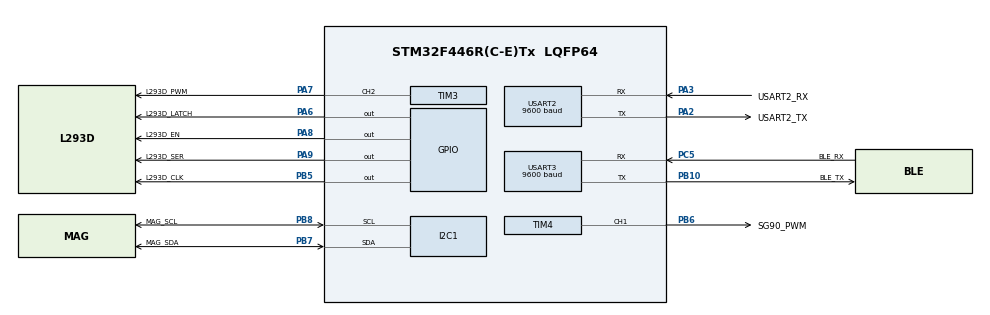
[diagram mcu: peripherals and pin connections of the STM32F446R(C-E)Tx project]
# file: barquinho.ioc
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Mcu.Family=STM32F4
Mcu.Name=STM32F446R(C-E)Tx
Mcu.Package=LQFP64
NVIC.PriorityGroup=NVIC_PRIORITYGROUP_4
NVIC.USART3_IRQn=true\:0\:0\:false\:false\:true\:true\:true\:true
PA13.Mode=Serial_Wire
PA13.Signal=SYS_JTMS-SWDIO
PA14.Mode=Serial_Wire
PA14.Signal=SYS_JTCK-SWCLK
PA2.GPIO_Label=USART2_TX
PA2.Mode=Asynchronous
PA2.Signal=USART2_TX
PA3.GPIO_Label=USART2_RX
PA3.Mode=Asynchronous
PA3.Signal=USART2_RX
PA6.GPIO_Label=L293D_LATCH
PA6.Signal=GPIO_Output
PA7.GPIO_Label=L293D_PWM
PA7.Signal=S_TIM3_CH2
PA8.GPIO_Label=L293D_EN
PA8.PinState=GPIO_PIN_SET
PA8.Signal=GPIO_Output
PA9.GPIO_Label=L293D_SER
PA9.Signal=GPIO_Output
PB10.GPIO_Label=BLE_TX
PB10.Mode=Asynchronous
PB10.Signal=USART3_TX
PB5.GPIO_Label=L293D_CLK
PB5.Signal=GPIO_Output
PB6.GPIO_Label=SG90_PWM
PB6.Signal=S_TIM4_CH1
PB7.GPIO_Label=MAG_SDA
PB7.Mode=I2C
PB7.Signal=I2C1_SDA
PB8.GPIO_Label=MAG_SCL
PB8.Mode=I2C
PB8.Signal=I2C1_SCL
PC14-OSC32_IN.Mode=LSE-External-Oscillator
PC14-OSC32_IN.Signal=RCC_OSC32_IN
PC15-OSC32_OUT.Mode=LSE-External-Oscillator
PC15-OSC32_OUT.Signal=RCC_OSC32_OUT
PC5.GPIO_Label=BLE_RX
PC5.Mode=Asynchronous
PC5.Signal=USART3_RX
PH0-OSC_IN.Mode=HSE-External-Oscillator
PH0-OSC_IN.Signal=RCC_OSC_IN
PH1-OSC_OUT.Mode=HSE-External-Oscillator
PH1-OSC_OUT.Signal=RCC_OSC_OUT
ProjectManager.HeapSize=0x200
ProjectManager.StackSize=0x400
ProjectManager.TargetToolchain=STM32CubeIDE
RCC.AHBFreq_Value=16000000
RCC.APB1CLKDivider=RCC_HCLK_DIV8
RCC.APB1Freq_Value=2000000
RCC.APB1TimFreq_Value=4000000
RCC.APB2Freq_Value=16000000
RCC.APB2TimFreq_Value=16000000
RCC.CortexFreq_Value=16000000
RCC.HCLKFreq_Value=16000000
RCC.USBFreq_Value=96000000
RCC.VCOOutputFreq_Value=192000000
SH.S_TIM3_CH2.0=TIM3_CH2,PWM Generation2 CH2
SH.S_TIM4_CH1.0=TIM4_CH1,PWM Generation1 CH1
TIM3.Channel-PWM\ Generation2\ CH2=TIM_CHANNEL_2
TIM3.Period=1250
TIM3.Prescaler=64-1
TIM4.Channel-PWM\ Generation1\ CH1=TIM_CHANNEL_1
TIM4.Period=1250
TIM4.Prescaler=64-1
USART2.BaudRate=9600
USART2.VirtualMode=VM_ASYNC
USART3.BaudRate=9600
USART3.VirtualMode=VM_ASYNC
board=custom

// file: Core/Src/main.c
/* USER CODE BEGIN Header */
/**
  ******************************************************************************
  * @file           : main.c
  * @brief          : Main program body
  * @authors        : Andre Lamego (andrelrc23@ufmg.br),
  *                 : Jarley B. Reckel Jr (jarley@ufmg.br),
  *                 : Mariana Givisiez (marianagivisiez@ufmg.br)
  ******************************************************************************
  * @attention
  *
  * Copyright (c) 2024 STMicroelectronics.
  * All rights reserved.
  *
  * This software is licensed under terms that can be found in the LICENSE file
  * in the root directory of this software component.
  * If no LICENSE file comes with this software, it is provided AS-IS.
  *
  ******************************************************************************
  */
/* USER CODE END Header */
#include "main.h"

/* USER CODE BEGIN Includes */
#include <stdbool.h>
#include <string.h>
#include <stdio.h>
#include "tools_and_types.h"
#include "actuators.h"
#include "I2Cdev.h"
#include "HMC5883L_dev.h"
#include "boat_system.h"
#include "location_service.h"
/* USER CODE END Includes */

/* USER CODE BEGIN PTD */
typedef struct
{
    uint32_t x;
    uint32_t y;
} location_t;
/* USER CODE END PTD */

/* USER CODE BEGIN PD */
#define CMD_SCAN "AT+INQ\r\n"
#define RX_BUFFER_SIZE 512
#define MAX_DEVICES 10

/* USER CODE END PD */

I2C_HandleTypeDef hi2c1;

TIM_HandleTypeDef htim3;
TIM_HandleTypeDef htim4;

UART_HandleTypeDef huart2;
UART_HandleTypeDef huart3;

/* USER CODE BEGIN PV */
uint8_t rx_buffer[RX_BUFFER_SIZE] = {0}; // Buffer for received data
uint8_t received_data;                  // Temporary variable for incoming data
volatile uint8_t rx_index = 0;          // Index for the receive buffer
/* USER CODE END PV */

void SystemClock_Config(void);
static void MX_GPIO_Init(void);
static void MX_I2C1_Init(void);
static void MX_TIM4_Init(void);
static void MX_USART2_UART_Init(void);
static void MX_USART3_UART_Init(void);
static void MX_TIM3_Init(void);
/* USER CODE BEGIN PFP */
void BLE_scan(Device *devices, int *device_count, int scan_id, char *msg);
void HAL_UART_RxCpltCallback(UART_HandleTypeDef *huart);
void scan(void);

/* USER CODE END PFP */

int main(void)
{

  /* MCU Configuration--------------------------------------------------------*/

  /* Reset of all peripherals, Initializes the Flash interface and the Systick. */
  HAL_Init();

  /* Configure the system clock */
  SystemClock_Config();
  MX_GPIO_Init();
  MX_I2C1_Init();
  MX_TIM3_Init();
  MX_TIM4_Init();
  MX_USART2_UART_Init();
  MX_USART3_UART_Init();

  /* Initialize all configured peripherals */

  /* Infinite loop */
  /* USER CODE BEGIN WHILE */
    float ar_coeffs1[AR_ORDER] = {0.67348657, 0.65200555, -0.99137748}; // Coeficientes AR
    float ma_coeffs1[MA_ORDER] = {-0.77182165, -0.78036989, 0.9870511};       // Coeficientes MA

    float ar_coeffs2[AR_ORDER] = {-1.87264865, -1.87290948, -0.99750545}; // Coeficientes AR
    float ma_coeffs2[MA_ORDER] = {-2.01837249, 1.50346126, -0.4728638};       // Coeficientes MA

    float ar_coeffs3[AR_ORDER] = {0.55748207, 0.55602423, -0.9994292}; // Coeficientes AR
    float ma_coeffs3[MA_ORDER] = {-2.08654653, 2.08560746, -0.99905818};       // Coeficientes MA

  ARMAFilter filter1;
  ARMAFilter filter2;
  ARMAFilter filter3;
  init_arma_filter(&filter1, ar_coeffs1, ma_coeffs1, RSSI_B1_START);
  init_arma_filter(&filter2, ar_coeffs2, ma_coeffs2, RSSI_B2_START);
  init_arma_filter(&filter3, ar_coeffs3, ma_coeffs3, RSSI_B3_START);

  Boat_system_t bs;
  bs.name = "Barco_vermelho";
  bs.function = MASTER;
  bs.hi2c1 = &hi2c1;
  bs.servo_angle = 0;
  bs.servo_channel = TIM_CHANNEL_1;
  bs.servo_timer = &htim4;
  bs.motor_speed = 0;
  bs.motor_direction = FORWARD;
  bs.motor_channel = TIM_CHANNEL_2;
  bs.motor_timer = &htim3;
  bs.x_position = 0;
  bs.y_position = 0;
  bs.heading = 0;
  bs.BLE_huart = &huart3;
  bs.BLE_baud = BAUD_9600;
  bs.device_count = 0;
  // strcpy(bs.devices[0].name,"PSE2022_B1");
  // strcpy(bs.devices[0].mac, " ");
  // bs.devices[0].rssi = RSSI_B1_START;
  // init_arma_filter(&bs.devices[0].filter, ar_coeffs, ma_coeffs, RSSI_B1_START);
  // strcpy(bs.devices[1].name,"PSE2022_B2");
  // strcpy(bs.devices[1].mac, " ");
  // bs.devices[1].rssi = RSSI_B2_START;
  // init_arma_filter(&bs.devices[1].filter, ar_coeffs, ma_coeffs, RSSI_B2_START);
  // strcpy(bs.devices[2].name,"PSE2022_B3");
  // strcpy(bs.devices[2].mac, " ");
  // bs.devices[2].rssi = RSSI_B3_START;
  // init_arma_filter(&bs.devices[2].filter, ar_coeffs, ma_coeffs, RSSI_B3_START);
  bs.rssi_reference = -61;
  char msg[RX_BUFFER_SIZE];
  I2Cdev_init(&hi2c1);
  HMC5883L_initialize();
  BLE_setup(bs.BLE_huart, bs.name, bs.function, bs.BLE_baud);
  // sprintf(msg, "Teste magnetometro: %d\n", (int)HMC5883L_testConnection());
  serial_print(msg);
  // HMC5883L_testConnection();
  HAL_GPIO_WritePin(GPIOA, L293D_EN_Pin, GPIO_PIN_RESET);

  double B1_distance;
  double B2_distance;
  double B3_distance;
  int B1_rssi;
  int B2_rssi;
  int B3_rssi;
  int scan_id = 1;

  // init_moving_average(&bs.rssi_avg);
  int media;
    // sprintf(msg, "Inicializando Barco Vermelho!!\n");
    serial_print(msg);
    bs.motor_speed = MOTOR_MAX_SPEED;
    for (int angle = 0; angle <= 180; angle += 10) {
      setServoAngle(&bs, angle);
      HAL_Delay(100);
    }
    for (int angle = 180; angle >= 0; angle -= 10) {
      setServoAngle(&bs, angle);
      HAL_Delay(100);
    }
    setServoAngle(&bs, 90);

    // sprintf(msg, "Escaneando dispositivos!!\n");
    serial_print(msg);
    // while (bs.device_count < 3) {
    HAL_UART_Receive_IT(&huart3, &received_data, 1);
    BLE_scan(bs.devices, &bs.device_count, scan_id, msg);
    HAL_Delay(100);
    // }
    for (int i = 0; i < bs.device_count; ++i) {
      // sprintf(msg, "\nDevice %d : %s", i, bs.devices[i].name);
      serial_print(msg);
    }

    int16_t aux_y =  COORD_Y;
    int16_t limit = abs(B1_X - B2_X) / 2;
    int16_t limit_line = abs(B1_X - B2_X) / LIMIT_LINE_FACTOR;
    int16_t limit_hard = abs(B1_X - B2_X) / HARD_LIMIT_FACTOR;
    int16_t distance_x = 0;
    int16_t distance_y = 0;
    double final_angle = atan2(B3_Y - B2_Y, B3_X - B2_X) * (180.0 / PI);
    sendCommand(&bs, FORWARD, MOTOR_MAX_SPEED);

    while (1) {
    /* USER CODE END WHILE */

    /* USER CODE BEGIN 3 */
      BLE_scan(bs.devices, &bs.device_count, scan_id, msg);
      // sprintf(msg, "\nBuffer: %s\n", rx_buffer);
      serial_print(msg);
      for(int i = 0; i < bs.device_count; i++) {
        // sprintf(msg, "\nDevice %d : %s||||", i, bs.devices[i].name);
        serial_print(msg);
      }

      B1_rssi = get_device_rssi(bs.devices, bs.device_count,"PSE2022_B1");
      B2_rssi = get_device_rssi(bs.devices, bs.device_count,"PSE2022_B2");
      B3_rssi = get_device_rssi(bs.devices, bs.device_count,"PSE2022_B3");
      B1_rssi = apply_arma(&filter1, B1_rssi);
      B2_rssi = apply_arma(&filter2, B2_rssi);
      B3_rssi = apply_arma(&filter3, B3_rssi);
      // bs.devices[0].rssi = B1_rssi;
      // bs.devices[1].rssi = B2_rssi;
      // bs.devices[2].rssi = B3_rssi;
      B1_distance = rssi_to_distance(B1_rssi, RSSI_Pt1, RSSI_n1);
      B2_distance = rssi_to_distance(B2_rssi, RSSI_Pt2, RSSI_n2);
      B3_distance = rssi_to_distance(B3_rssi, RSSI_Pt3, RSSI_n3);
      // B1_distance = get_device_distance(bs.devices, bs.device_count, "PSE2022_B1", B1_RSSI_1M);
      // B2_distance = get_device_distance(bs.devices, bs.device_count, "PSE2022_B2", B2_RSSI_1M);
      // B3_distance = get_device_distance(bs.devices, bs.device_count, "PSE2022_B3", B3_RSSI_1M);
      // sprintf(msg, "\nB1 distance : %.2f \t B1 RSSI: %d\nB2 distance : %.2f \t B2 RSSI: %d\nB3 distance : %.2f \t B3 RSSI: %d\n", B1_distance, B1_rssi, B2_distance, B2_rssi, B3_distance, B3_rssi);
      serial_print(msg);
      // media = update_moving_average(&bs.rssi_avg, B1_rssi);
      // // sprintf(msg, "\nMedia %d \n", media);
      // serial_print(msg);

      // if (distance_y < limit_line) {
      //   if(B2_distance < limit_hard) {
      //     if (bs.motor_speed > MOTOR_MIN_SPEED) {
      //       bs.motor_speed -= DESACELERATION;
      //       sendCommand(&bs, FORWARD, bs.motor_speed);
      //       HAL_Delay(10);
      //       continue;
      //     }
      //   }
      //   update_servor_angle(&bs, B3_Y, B3_X, final_angle);
      //   HAL_Delay(10);
      //   continue;
      // }

      update_boat_position(&bs, B1_distance, B2_distance, B3_distance);
      HMC588L_getDegree(&bs);
      // sprintf(msg, "\nX: %.2f \t Y: %.2f Ang: %.2f Servor: %.2f\n", bs.x_position, bs.y_position, bs.heading, bs.servo_angle);
      serial_print(msg);
      // distance_x = abs(B1_X - bs.x_position);
      distance_y = abs(B1_Y - bs.y_position);

      // update_servor_angle(&bs, B2_Y, B2_X);

      update_servor_angle(&bs, B3_X, B3_X);
      // setServoAngle(&bs, bs.servo_angle);
      // HAL_Delay(10);
      if (distance_y < limit) {
        aux_y = B2_Y;
        limit = -1;
      }
      // if (limit < limit_hard) {
      //   limit = -1;
      //   aux_y = B2_Y;
      // }

      // setServoAngle(&bs, DESTINY_DIRECTION);
      // HAL_Delay(10);
    }
  /* USER CODE END 3 */
}

void SystemClock_Config(void)
{
  RCC_OscInitTypeDef RCC_OscInitStruct = {0};
  RCC_ClkInitTypeDef RCC_ClkInitStruct = {0};

  /** Configure the main internal regulator output voltage
  */
  __HAL_RCC_PWR_CLK_ENABLE();
  __HAL_PWR_VOLTAGESCALING_CONFIG(PWR_REGULATOR_VOLTAGE_SCALE3);

  /** Initializes the RCC Oscillators according to the specified parameters
  * in the RCC_OscInitTypeDef structure.
  */
  RCC_OscInitStruct.OscillatorType = RCC_OSCILLATORTYPE_HSI;
  RCC_OscInitStruct.HSIState = RCC_HSI_ON;
  RCC_OscInitStruct.HSICalibrationValue = RCC_HSICALIBRATION_DEFAULT;
  RCC_OscInitStruct.PLL.PLLState = RCC_PLL_NONE;
  if (HAL_RCC_OscConfig(&RCC_OscInitStruct) != HAL_OK)
  {
    Error_Handler();
  }

  /** Initializes the CPU, AHB and APB buses clocks
  */
  RCC_ClkInitStruct.ClockType = RCC_CLOCKTYPE_HCLK|RCC_CLOCKTYPE_SYSCLK
                              |RCC_CLOCKTYPE_PCLK1|RCC_CLOCKTYPE_PCLK2;
  RCC_ClkInitStruct.SYSCLKSource = RCC_SYSCLKSOURCE_HSI;
  RCC_ClkInitStruct.AHBCLKDivider = RCC_SYSCLK_DIV1;
  RCC_ClkInitStruct.APB1CLKDivider = RCC_HCLK_DIV8;
  RCC_ClkInitStruct.APB2CLKDivider = RCC_HCLK_DIV1;

  if (HAL_RCC_ClockConfig(&RCC_ClkInitStruct, FLASH_LATENCY_0) != HAL_OK)
  {
    Error_Handler();
  }
}

static void MX_I2C1_Init(void)
{

  hi2c1.Instance = I2C1;
  hi2c1.Init.ClockSpeed = 100000;
  hi2c1.Init.DutyCycle = I2C_DUTYCYCLE_2;
  hi2c1.Init.OwnAddress1 = 0;
  hi2c1.Init.AddressingMode = I2C_ADDRESSINGMODE_7BIT;
  hi2c1.Init.DualAddressMode = I2C_DUALADDRESS_DISABLE;
  hi2c1.Init.OwnAddress2 = 0;
  hi2c1.Init.GeneralCallMode = I2C_GENERALCALL_DISABLE;
  hi2c1.Init.NoStretchMode = I2C_NOSTRETCH_DISABLE;
  if (HAL_I2C_Init(&hi2c1) != HAL_OK)
  {
    Error_Handler();
  }

}

static void MX_TIM3_Init(void)
{

  TIM_MasterConfigTypeDef sMasterConfig = {0};
  TIM_OC_InitTypeDef sConfigOC = {0};

  htim3.Instance = TIM3;
  htim3.Init.Prescaler = 64-1;
  htim3.Init.CounterMode = TIM_COUNTERMODE_UP;
  htim3.Init.Period = 1250;
  htim3.Init.ClockDivision = TIM_CLOCKDIVISION_DIV1;
  htim3.Init.AutoReloadPreload = TIM_AUTORELOAD_PRELOAD_DISABLE;
  if (HAL_TIM_PWM_Init(&htim3) != HAL_OK)
  {
    Error_Handler();
  }
  sMasterConfig.MasterOutputTrigger = TIM_TRGO_RESET;
  sMasterConfig.MasterSlaveMode = TIM_MASTERSLAVEMODE_DISABLE;
  if (HAL_TIMEx_MasterConfigSynchronization(&htim3, &sMasterConfig) != HAL_OK)
  {
    Error_Handler();
  }
  sConfigOC.OCMode = TIM_OCMODE_PWM1;
  sConfigOC.Pulse = 0;
  sConfigOC.OCPolarity = TIM_OCPOLARITY_HIGH;
  sConfigOC.OCFastMode = TIM_OCFAST_DISABLE;
  if (HAL_TIM_PWM_ConfigChannel(&htim3, &sConfigOC, TIM_CHANNEL_2) != HAL_OK)
  {
    Error_Handler();
  }
  HAL_TIM_MspPostInit(&htim3);

}

static void MX_TIM4_Init(void)
{

  TIM_MasterConfigTypeDef sMasterConfig = {0};
  TIM_OC_InitTypeDef sConfigOC = {0};

  htim4.Instance = TIM4;
  htim4.Init.Prescaler = 64-1;
  htim4.Init.CounterMode = TIM_COUNTERMODE_UP;
  htim4.Init.Period = 1250;
  htim4.Init.ClockDivision = TIM_CLOCKDIVISION_DIV1;
  htim4.Init.AutoReloadPreload = TIM_AUTORELOAD_PRELOAD_DISABLE;
  if (HAL_TIM_PWM_Init(&htim4) != HAL_OK)
  {
    Error_Handler();
  }
  sMasterConfig.MasterOutputTrigger = TIM_TRGO_RESET;
  sMasterConfig.MasterSlaveMode = TIM_MASTERSLAVEMODE_DISABLE;
  if (HAL_TIMEx_MasterConfigSynchronization(&htim4, &sMasterConfig) != HAL_OK)
  {
    Error_Handler();
  }
  sConfigOC.OCMode = TIM_OCMODE_PWM1;
  sConfigOC.Pulse = 0;
  sConfigOC.OCPolarity = TIM_OCPOLARITY_HIGH;
  sConfigOC.OCFastMode = TIM_OCFAST_DISABLE;
  if (HAL_TIM_PWM_ConfigChannel(&htim4, &sConfigOC, TIM_CHANNEL_1) != HAL_OK)
  {
    Error_Handler();
  }
  HAL_TIM_MspPostInit(&htim4);

}

static void MX_USART2_UART_Init(void)
{

  huart2.Instance = USART2;
  huart2.Init.BaudRate = 9600;
  huart2.Init.WordLength = UART_WORDLENGTH_8B;
  huart2.Init.StopBits = UART_STOPBITS_1;
  huart2.Init.Parity = UART_PARITY_NONE;
  huart2.Init.Mode = UART_MODE_TX_RX;
  huart2.Init.HwFlowCtl = UART_HWCONTROL_NONE;
  huart2.Init.OverSampling = UART_OVERSAMPLING_16;
  if (HAL_UART_Init(&huart2) != HAL_OK)
  {
    Error_Handler();
  }

}

static void MX_USART3_UART_Init(void)
{

  huart3.Instance = USART3;
  huart3.Init.BaudRate = 9600;
  huart3.Init.WordLength = UART_WORDLENGTH_8B;
  huart3.Init.StopBits = UART_STOPBITS_1;
  huart3.Init.Parity = UART_PARITY_NONE;
  huart3.Init.Mode = UART_MODE_TX_RX;
  huart3.Init.HwFlowCtl = UART_HWCONTROL_NONE;
  huart3.Init.OverSampling = UART_OVERSAMPLING_16;
  if (HAL_UART_Init(&huart3) != HAL_OK)
  {
    Error_Handler();
  }

}

static void MX_GPIO_Init(void)
{
  GPIO_InitTypeDef GPIO_InitStruct = {0};

  /* GPIO Ports Clock Enable */
  __HAL_RCC_GPIOC_CLK_ENABLE();
  __HAL_RCC_GPIOH_CLK_ENABLE();
  __HAL_RCC_GPIOA_CLK_ENABLE();
  __HAL_RCC_GPIOB_CLK_ENABLE();

  /*Configure GPIO pin Output Level */
  HAL_GPIO_WritePin(GPIOA, L293D_LATCH_Pin|L293D_SER_Pin, GPIO_PIN_RESET);

  /*Configure GPIO pin Output Level */
  HAL_GPIO_WritePin(L293D_EN_GPIO_Port, L293D_EN_Pin, GPIO_PIN_SET);

  /*Configure GPIO pin Output Level */
  HAL_GPIO_WritePin(L293D_CLK_GPIO_Port, L293D_CLK_Pin, GPIO_PIN_RESET);

  /*Configure GPIO pins : L293D_LATCH_Pin L293D_EN_Pin L293D_SER_Pin */
  GPIO_InitStruct.Pin = L293D_LATCH_Pin|L293D_EN_Pin|L293D_SER_Pin;
  GPIO_InitStruct.Mode = GPIO_MODE_OUTPUT_PP;
  GPIO_InitStruct.Pull = GPIO_NOPULL;
  GPIO_InitStruct.Speed = GPIO_SPEED_FREQ_LOW;
  HAL_GPIO_Init(GPIOA, &GPIO_InitStruct);

  /*Configure GPIO pin : L293D_CLK_Pin */
  GPIO_InitStruct.Pin = L293D_CLK_Pin;
  GPIO_InitStruct.Mode = GPIO_MODE_OUTPUT_PP;
  GPIO_InitStruct.Pull = GPIO_NOPULL;
  GPIO_InitStruct.Speed = GPIO_SPEED_FREQ_LOW;
  HAL_GPIO_Init(L293D_CLK_GPIO_Port, &GPIO_InitStruct);

}

/* USER CODE BEGIN 4 */

void BLE_scan(Device *devices, int *device_count, int scan_id, char *msg)
{
    scan();
    // Print received data via UART2 for debugging
    if (rx_index > 0)
    {
        snprintf(msg, RX_BUFFER_SIZE, "Dispositivo encontrado: MAC: %s\n", (char *)rx_buffer);
        serial_print(msg); // Envia a mensagem via UART// Reset index
        parse_devices((char *)rx_buffer, devices, device_count, scan_id);
        scan_id++;
        memset(rx_buffer, 0, RX_BUFFER_SIZE); // Clear the buffer
        rx_index = 0;
    }
}

int __io_putchar(int ch) {
    HAL_UART_Transmit(&huart2, (uint8_t*)&ch, 1, HAL_MAX_DELAY);
    return ch;
}

char serial_print(char *_msg) {
    // while (*_msg) {
    //     if (__io_putchar(*_msg) != *_msg) {
    //         return *_msg;
    //     }
    //     _msg++;
    // }
    return ' ';
}

void HAL_UART_RxCpltCallback(UART_HandleTypeDef *huart) {
    if (huart->Instance == USART3) { // Handle UART3 data reception
        if (rx_index < RX_BUFFER_SIZE - 1) {
            rx_buffer[rx_index++] = received_data; // Append to buffer
        }
        HAL_UART_Receive_IT(&huart3, &received_data, 1); // Continue receiving
    }
}

void scan()
{
	char command[] = "AT+INQ\r\n";
    HAL_UART_Transmit(&huart3, (uint8_t *)command, strlen(command), HAL_MAX_DELAY);
    HAL_Delay(300); // Ensure sufficient time for command execution
}

/* USER CODE END 4 */

void Error_Handler(void)
{
__disable_irq();
while (1)
{
}
}
